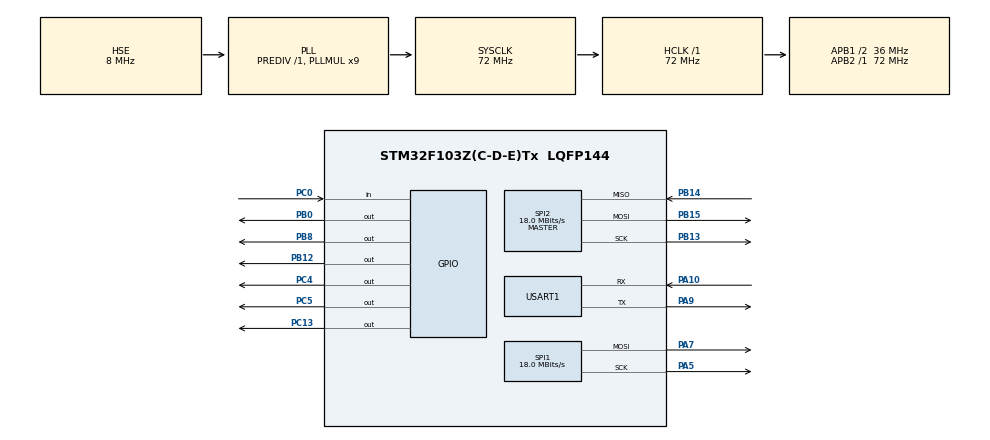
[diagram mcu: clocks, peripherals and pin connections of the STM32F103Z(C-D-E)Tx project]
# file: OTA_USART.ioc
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Mcu.Family=STM32F1
Mcu.Name=STM32F103Z(C-D-E)Tx
Mcu.Package=LQFP144
NVIC.PriorityGroup=NVIC_PRIORITYGROUP_4
NVIC.USART1_IRQn=true\:8\:0\:true\:false\:true\:true\:true\:true
OSC_IN.Mode=HSE-External-Oscillator
OSC_IN.Signal=RCC_OSC_IN
OSC_OUT.Mode=HSE-External-Oscillator
OSC_OUT.Signal=RCC_OSC_OUT
PA10.Mode=Asynchronous
PA10.Signal=USART1_RX
PA13.Mode=Serial_Wire
PA13.Signal=SYS_JTMS-SWDIO
PA14.Mode=Serial_Wire
PA14.Signal=SYS_JTCK-SWCLK
PA5.Mode=TX_Only_Simplex_Unidirect_Master
PA5.Signal=SPI1_SCK
PA7.Mode=TX_Only_Simplex_Unidirect_Master
PA7.Signal=SPI1_MOSI
PA9.Mode=Asynchronous
PA9.Signal=USART1_TX
PB0.Signal=GPIO_Output
PB12.Signal=GPIO_Output
PB13.Mode=Full_Duplex_Master
PB13.Signal=SPI2_SCK
PB14.Mode=Full_Duplex_Master
PB14.Signal=SPI2_MISO
PB15.Mode=Full_Duplex_Master
PB15.Signal=SPI2_MOSI
PB8.GPIO_ModeDefaultOutputPP=GPIO_MODE_OUTPUT_OD
PB8.GPIO_PuPd=GPIO_NOPULL
PB8.PinState=GPIO_PIN_SET
PB8.Signal=GPIO_Output
PC0.Signal=GPIO_Input
PC13-TAMPER-RTC.Signal=GPIO_Output
PC4.Signal=GPIO_Output
PC5.Signal=GPIO_Output
ProjectManager.HeapSize=0x200
ProjectManager.StackSize=0x400
ProjectManager.TargetToolchain=MDK-ARM V5.32
RCC.AHBFreq_Value=72000000
RCC.APB1CLKDivider=RCC_HCLK_DIV2
RCC.APB1Freq_Value=36000000
RCC.APB1TimFreq_Value=72000000
RCC.APB2Freq_Value=72000000
RCC.APB2TimFreq_Value=72000000
RCC.HCLKFreq_Value=72000000
RCC.PLLMUL=RCC_PLL_MUL9
RCC.PLLSourceVirtual=RCC_PLLSOURCE_HSE
RCC.SYSCLKFreq_VALUE=72000000
RCC.SYSCLKSource=RCC_SYSCLKSOURCE_PLLCLK
RCC.USBFreq_Value=72000000
SPI1.BaudRatePrescaler=SPI_BAUDRATEPRESCALER_4
SPI1.CalculateBaudRate=18.0 MBits/s
SPI1.Direction=SPI_DIRECTION_2LINES
SPI1.Mode=SPI_MODE_MASTER
SPI1.VirtualType=VM_MASTER
SPI2.CalculateBaudRate=18.0 MBits/s
SPI2.Direction=SPI_DIRECTION_2LINES
SPI2.Mode=SPI_MODE_MASTER
SPI2.VirtualType=VM_MASTER
USART1.VirtualMode=VM_ASYNC
board=custom

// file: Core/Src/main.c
/* USER CODE BEGIN Header */
/**
 ******************************************************************************
 * @file           : main.c
 * @brief          : Main program body
 ******************************************************************************
 * @attention
 *
 * Copyright (c) 2026 STMicroelectronics.
 * All rights reserved.
 *
 * This software is licensed under terms that can be found in the LICENSE file
 * in the root directory of this software component.
 * If no LICENSE file comes with this software, it is provided AS-IS.
 *
 ******************************************************************************
 */
/* USER CODE END Header */
#include "main.h"
#include "spi.h"
#include "usart.h"
#include "gpio.h"

/* USER CODE BEGIN Includes */
#include "stdio.h"
#include "string.h"
#include "BootLoader.h"
#include "OLED.h"
#include "BUTTON.h"
/* USER CODE END Includes */

/* USER CODE BEGIN PD */
#define Rec_Timeout_ms 1000
/* USER CODE END PD */

/* USER CODE BEGIN PV */
uint8_t Buffer[256];
volatile uint32_t Rec_code_len = 0;
volatile uint32_t Last_Rec_Tick = 0;
volatile uint8_t writeover_flag = 1;
volatile uint8_t write_flag = 0;
/* USER CODE END PV */

void SystemClock_Config(void);

int main(void)
{

  /* MCU Configuration--------------------------------------------------------*/

  /* Reset of all peripherals, Initializes the Flash interface and the Systick. */
  HAL_Init();

  /* Configure the system clock */
  SystemClock_Config();

  /* Initialize all configured peripherals */
  MX_GPIO_Init();
  MX_SPI1_Init();
  MX_SPI2_Init();
  MX_USART1_UART_Init();
  /* USER CODE BEGIN 2 */
  BootLoader_OTA_Init();

  __HAL_UART_CLEAR_OREFLAG(&huart1);
  __HAL_UART_CLEAR_IDLEFLAG(&huart1);
  uint8_t usart_state = HAL_UARTEx_ReceiveToIdle_IT(&huart1, Buffer, 256);
  /* USER CODE END 2 */

  /* Infinite loop */
  /* USER CODE BEGIN WHILE */
  while (1)
  {
    if (write_flag == 1)
    {
      BootLoader_OTA_Write(writeover_flag, Buffer, Rec_code_len);
      write_flag = 0;
    }
    else{
      if(Button_detect(pc0_btn)==0){
        HAL_GPIO_WritePin(GPIOB,GPIO_PIN_8,GPIO_PIN_RESET);
        HAL_GPIO_WritePin(GPIOC,GPIO_PIN_13,GPIO_PIN_SET);
      }
      else{
        HAL_GPIO_WritePin(GPIOB,GPIO_PIN_8,GPIO_PIN_SET);
        HAL_GPIO_WritePin(GPIOC,GPIO_PIN_13,GPIO_PIN_RESET);
      }
    }
    if (writeover_flag == 0) // 未接收完成
    {
      if (HAL_GetTick() - Last_Rec_Tick >= Rec_Timeout_ms)
      {
        writeover_flag = 1;
        write_flag = 1;
      }
    }
    /* USER CODE END WHILE */

  }
}

void SystemClock_Config(void)
{
  RCC_OscInitTypeDef RCC_OscInitStruct = {0};
  RCC_ClkInitTypeDef RCC_ClkInitStruct = {0};

  /** Initializes the RCC Oscillators according to the specified parameters
  * in the RCC_OscInitTypeDef structure.
  */
  RCC_OscInitStruct.OscillatorType = RCC_OSCILLATORTYPE_HSE;
  RCC_OscInitStruct.HSEState = RCC_HSE_ON;
  RCC_OscInitStruct.HSEPredivValue = RCC_HSE_PREDIV_DIV1;
  RCC_OscInitStruct.HSIState = RCC_HSI_ON;
  RCC_OscInitStruct.PLL.PLLState = RCC_PLL_ON;
  RCC_OscInitStruct.PLL.PLLSource = RCC_PLLSOURCE_HSE;
  RCC_OscInitStruct.PLL.PLLMUL = RCC_PLL_MUL9;
  if (HAL_RCC_OscConfig(&RCC_OscInitStruct) != HAL_OK)
  {
    Error_Handler();
  }

  /** Initializes the CPU, AHB and APB buses clocks
  */
  RCC_ClkInitStruct.ClockType = RCC_CLOCKTYPE_HCLK|RCC_CLOCKTYPE_SYSCLK
                              |RCC_CLOCKTYPE_PCLK1|RCC_CLOCKTYPE_PCLK2;
  RCC_ClkInitStruct.SYSCLKSource = RCC_SYSCLKSOURCE_PLLCLK;
  RCC_ClkInitStruct.AHBCLKDivider = RCC_SYSCLK_DIV1;
  RCC_ClkInitStruct.APB1CLKDivider = RCC_HCLK_DIV2;
  RCC_ClkInitStruct.APB2CLKDivider = RCC_HCLK_DIV1;

  if (HAL_RCC_ClockConfig(&RCC_ClkInitStruct, FLASH_LATENCY_2) != HAL_OK)
  {
    Error_Handler();
  }
}

/* USER CODE BEGIN 4 */
void HAL_UARTEx_RxEventCallback(UART_HandleTypeDef *huart, uint16_t Size)
{
  if (huart->Instance == USART1)
  {
    Rec_code_len = Size;
    HAL_UARTEx_ReceiveToIdle_IT(&huart1, Buffer, 256);
    Last_Rec_Tick = HAL_GetTick();
    write_flag = 1;
    writeover_flag = 0;
  }
}
/* USER CODE END 4 */

void Error_Handler(void)
{
  __disable_irq();
  while (1)
  {
  }
}
